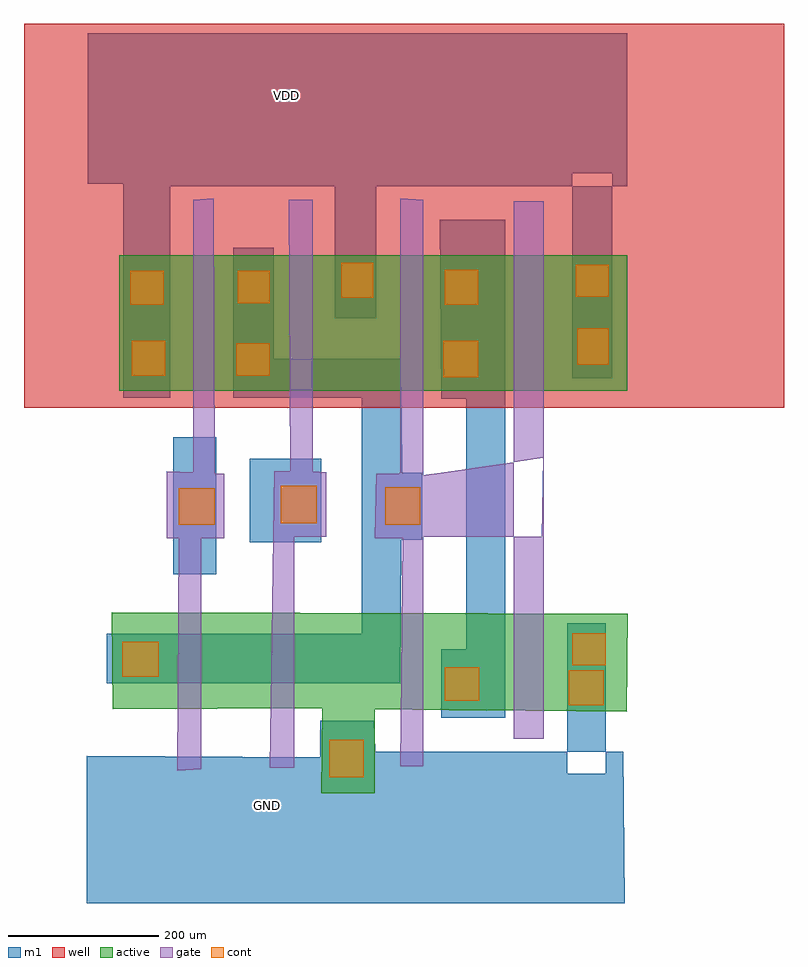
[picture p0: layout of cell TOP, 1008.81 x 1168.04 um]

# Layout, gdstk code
import gdstk
lib = gdstk.Library(unit=1e-6, precision=1e-09)
def R(c, l, rs):  # rectangles x0, y0, x1, y1
    for r in rs: c.add(gdstk.rectangle(r[:2], r[2:], *l))
def P(c, l, *ps):  # polygons
    for p in ps: c.add(gdstk.Polygon(p, *l))
well = (1, 0)
active = (2, 0)
gate = (3, 0)
cont = (4, 0)
m1 = (5, 0)

top = lib.new_cell('TOP')
R(top, well, [(-292.651,44.195,716.162,553.919)])
R(top, active, [(-166.142,66.314,321.589,246.005), (-166.142,66.314,508.066,246.005)])
P(top, active, [(101.759,-467.944),(103.245,-355.043),(-174.55,-356.529),(-176.036,-227.287),(508.725,-229.326),(507.225,-359.869),(173.065,-356.529),(173.065,-467.944)],
  [(101.759,-467.944),(103.245,-355.043),(-174.55,-356.529),(-176.036,-227.287),(323.104,-228.773),(321.619,-358.014),(173.065,-356.529),(173.065,-467.944)])
P(top, gate, [(206.787,-432.291),(210.352,-129.242),(172.916,-129.242),(174.699,-43.675),(205.004,-43.675),(206.787,-41.892),(206.787,321.767),(237.092,319.984),(237.092,-45.457),(357.528,-28.258),(357.528,-127.459),(237.092,-127.459),(237.092,-432.291)],
  [(357.528,-395.162),(357.528,-127.459),(394.405,-127.459),(396.635,-22.673),(357.528,-28.258),(357.528,317.679),(397.376,317.679),(397.376,-395.162)],
  [(206.787,-432.291),(210.352,-129.242),(172.916,-129.242),(174.699,-43.675),(205.004,-43.675),(206.787,-41.892),(206.787,321.767),(237.092,319.984),(237.092,-45.457),(249.57,-43.675),(247.787,-127.459),(237.092,-127.459),(237.092,-432.291)],
  [(33.87,-434.074),(39.218,-40.109),(60.61,-40.109),(58.827,319.984),(90.915,319.984),(90.915,-40.109),(108.741,-41.892),(108.741,-127.459),(65.958,-127.459),(65.958,-434.074)],
  [(33.87,-434.074),(39.218,-40.109),(60.61,-40.109),(58.827,319.984),(90.915,319.984),(90.915,-40.109),(108.741,-41.892),(108.741,-127.459),(65.958,-127.459),(65.958,-434.074)],
  [(-89.132,-437.639),(-87.35,-129.242),(-103.393,-129.242),(-103.393,-40.109),(-67.74,-41.892),(-67.74,319.984),(-41.001,321.767),(-39.218,-43.675),(-26.74,-43.675),(-26.74,-129.242),(-57.045,-129.242),(-57.045,-435.856)],
  [(-89.132,-437.639),(-87.35,-129.242),(-103.393,-129.242),(-103.393,-40.109),(-67.74,-41.892),(-67.74,319.984),(-41.001,321.767),(-39.218,-43.675),(-26.74,-43.675),(-26.74,-129.242),(-57.045,-129.242),(-57.045,-435.856)])
R(top, cont, [(112.307,-446.552,158.655,-396.638), (112.307,-446.552,158.655,-396.638), (430.583,-350.886,477.073,-304.397), (430.583,-350.886,477.073,-304.397), (265.614,-344.941,311.963,-300.375), (265.614,-344.941,311.963,-300.375), (-162.221,-312.854,-114.089,-266.505), (-162.221,-312.854,-114.089,-266.505), (435.011,-297.755,479.286,-255.693), (435.011,-297.755,479.286,-255.693), (-87.35,-111.415,-39.218,-63.284), (-87.35,-111.415,-39.218,-63.284), (187.178,-111.415,233.526,-61.501), (187.178,-111.415,233.526,-61.501), (48.131,-109.633,96.263,-59.719), (48.131,-109.633,96.263,-59.719), (263.831,84.676,310.18,132.807), (263.831,84.676,310.18,132.807), (-149.742,86.458,-105.176,132.807), (-149.742,86.458,-105.176,132.807), (-10.696,86.458,33.87,129.242), (-10.696,86.458,33.87,129.242), (441.652,100.728,483.714,149.431), (441.652,100.728,483.714,149.431), (-151.525,180.938,-106.959,225.504), (-151.525,180.938,-106.959,225.504), (265.614,180.938,310.18,227.287), (265.614,180.938,310.18,227.287), (-8.913,182.721,33.87,225.504), (-8.913,182.721,33.87,225.504), (128.35,189.851,171.134,236.2), (128.35,189.851,171.134,236.2), (439.438,191.493,483.714,233.555), (439.438,191.493,483.714,233.555)])
R(top, m1, [(428.369,-412.682,479.286,-242.41), (-94.48,-177.373,-37.436,4.457), (-94.48,-177.373,-37.436,4.457), (7.131,-134.59,101.611,-24.066), (7.131,-134.59,101.611,-24.066), (435.011,83.017,488.142,337.959)])
P(top, m1, [(-161.181,57.193),(-161.181,341.426),(-207.975,341.426),(-207.975,540.735),(508.066,540.735),(508.066,337.959),(488.142,337.959),(488.142,355.314),(435.011,355.314),(435.011,337.959),(175.046,337.959),(175.046,162.914),(119.586,162.914),(119.586,337.959),(-98.788,337.959),(-98.788,57.193)],
  [(-209.461,-614.121),(-209.461,-418.03),(100.719,-419.812),(100.719,-371.681),(172.025,-371.681),(173.808,-412.682),(428.369,-412.682),(428.369,-441.652),(479.286,-441.652),(479.286,-412.682),(502.696,-412.682),(504.479,-614.121)],
  [(-209.461,-614.121),(-209.461,-418.03),(100.719,-419.812),(100.719,-371.681),(172.025,-371.681),(173.808,-412.682),(366.333,-412.682),(368.116,-614.121)],
  [(260.897,-367.67),(260.897,-276.681),(294.322,-276.681),(294.322,55.708),(260.897,55.708),(259.04,293.393),(346.316,293.393),(346.316,-367.67)],
  [(260.897,-367.67),(260.897,-276.681),(294.322,-276.681),(294.322,55.708),(260.897,55.708),(259.04,293.393),(346.316,293.393),(346.316,-367.67)],
  [(-182.721,-321.619),(-182.721,-256.255),(155.981,-256.255),(155.981,57.193),(-14.855,57.193),(-14.855,256.255),(38.624,256.255),(38.624,109.187),(207.975,109.187),(209.461,-42.338),(236.2,-42.338),(236.2,-131.47),(207.975,-131.47),(206.489,-321.619)],
  [(-182.721,-321.619),(-182.721,-256.255),(155.981,-256.255),(155.981,57.193),(-14.855,57.193),(-14.855,256.255),(38.624,256.255),(38.624,109.187),(207.975,109.187),(209.461,-42.338),(236.2,-42.338),(236.2,-131.47),(207.975,-131.47),(206.489,-321.619)],
  [(-161.181,57.193),(-161.181,341.426),(-207.975,341.426),(-207.975,540.735),(367.423,540.735),(367.423,337.959),(175.046,337.959),(175.046,162.914),(119.586,162.914),(119.586,337.959),(-98.788,337.959),(-98.788,57.193)])
top.add(gdstk.Label('VDD', (55.243,458.195), layer=5, texttype=1))
top.add(gdstk.Label('GND', (29.948,-484.166), layer=5, texttype=1))

lib.write_gds('TOP.gds')
